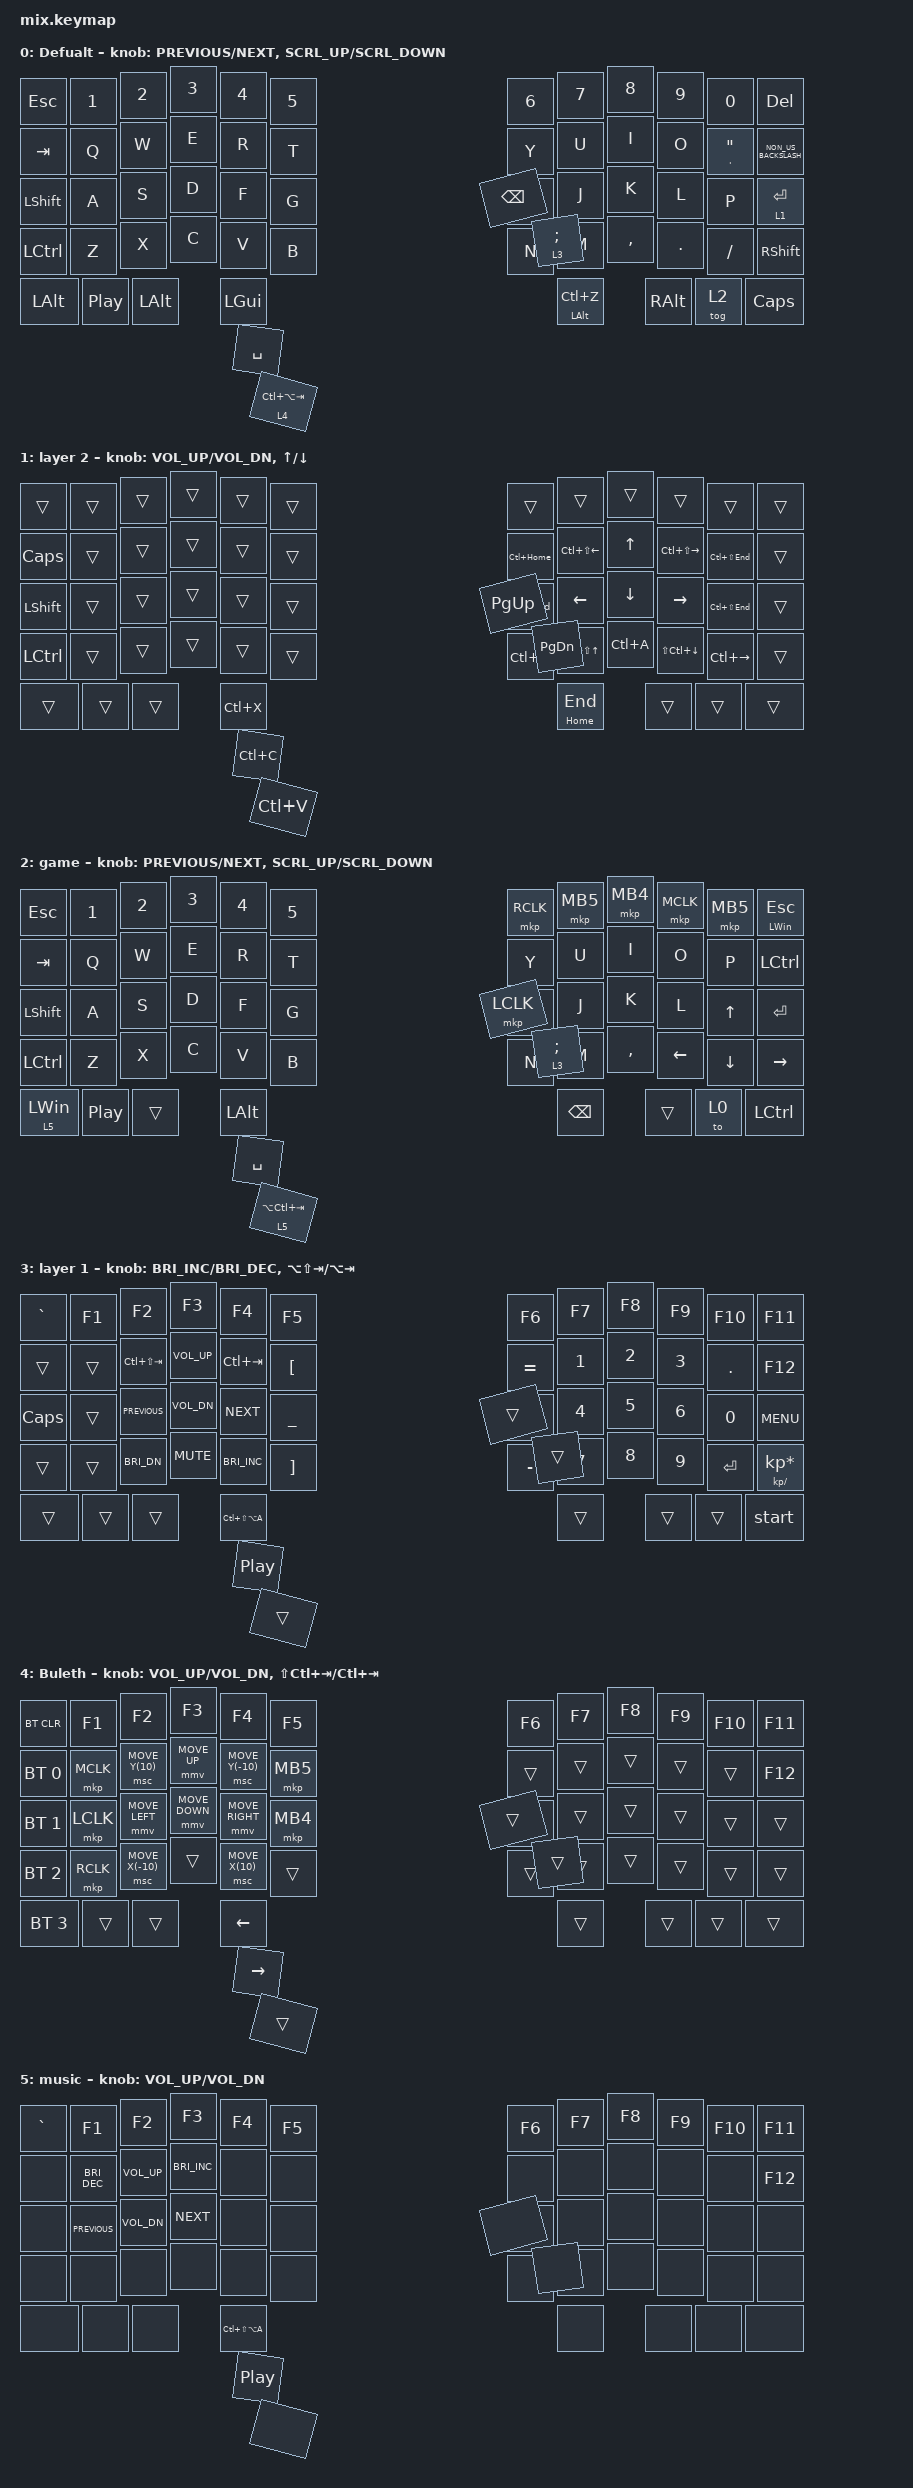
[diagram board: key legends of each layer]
/*
 * Copyright (c) 2020 The ZMK Contributors
 *
 * SPDX-License-Identifier: MIT
 */

#include <behaviors.dtsi>
#include <dt-bindings/zmk/bt.h>
#include <dt-bindings/zmk/keys.h>
#include <dt-bindings/zmk/pointing.h>

#define ZMK_POINTING_DEFAULT_SCRL_VAL 40
#define ZMK_POINTING_DEFAULT_MOVE_VAL 1500  // default: 600

/ {
    combos {
        compatible = "zmk,combos";

        boot {
            bindings = <&bootloader>;
            key-positions = <0 11 54 53>;
        };
    };

    behaviors {
        encoder_sc: encoder_sc {
            compatible = "zmk,behavior-sensor-rotate-var";
            label = "ENCODER_SC";
            #sensor-binding-cells = <2>;
            bindings = <&msc>, <&msc>;

            tap-ms = <40>;
        };
    };

    macros {
        start: start {
            compatible = "zmk,behavior-macro";
            #binding-cells = <0>;
            bindings = <&kp N1 &kp N8 &kp N3 &kp N4 &kp N9 &kp N2>;
            label = "START";
        };
    };

    keymap {
        compatible = "zmk,keymap";

        LAYER0 {
            display-name = "Defualt";
            bindings = <
&kp ESCAPE    &kp N1    &kp N2        &kp N3    &kp NUMBER_4  &kp N5             &kp NUMBER_6   &kp N7      &kp N8              &kp N9         &kp N0                          &kp DELETE
&kp TAB       &kp Q     &kp W         &kp E     &kp R         &kp T              &kp Y          &kp U       &kp I               &kp O          &mt SINGLE_QUOTE DOUBLE_QUOTES  &kp NON_US_BACKSLASH
&kp LSHFT     &kp A     &kp S         &kp D     &kp F         &kp G              &kp H          &kp J       &kp K               &kp L          &kp P                           &lt 1 ENTER
&kp LCTRL     &kp Z     &kp X         &kp C     &kp V         &kp B              &kp N          &kp M       &kp COMMA           &kp DOT        &kp SLASH                       &kp RSHFT
&kp LEFT_ALT  &kp C_PP  &kp LEFT_ALT  &kp LGUI  &kp SPACE     &lt 4 LC(LA(TAB))  &kp BACKSPACE  &lt 3 SEMI  &mt LEFT_ALT LC(Z)  &kp RIGHT_ALT  &tog 2                          &kp CAPS
            >;

            sensor-bindings =
                <&inc_dec_kp C_PREVIOUS C_NEXT>,
                <&encoder_sc SCRL_UP SCRL_DOWN>;
        };

        edit {
            display-name = "layer 2";
            bindings = <
&trans          &trans  &trans  &trans     &trans     &trans     &trans              &trans                  &trans          &trans                   &trans               &trans
&kp CAPS        &trans  &trans  &trans     &trans     &trans     &kp LC(HOME)        &kp LC(LS(LEFT_ARROW))  &kp UP_ARROW    &kp LC(LS(RIGHT_ARROW))  &kp LC(LS(END))      &trans
&kp LEFT_SHIFT  &trans  &trans  &trans     &trans     &trans     &kp LC(END)         &kp LEFT_ARROW          &kp DOWN_ARROW  &kp RIGHT_ARROW          &kp LC(LS(END))      &trans
&kp LCTRL       &trans  &trans  &trans     &trans     &trans     &kp LC(LEFT_ARROW)  &kp LC(LS(UP_ARROW))    &kp LC(A)       &kp LS(LC(DOWN_ARROW))   &kp LC(RIGHT_ARROW)  &trans
&trans          &trans  &trans  &kp LC(X)  &kp LC(C)  &kp LC(V)  &kp PG_UP           &kp PAGE_DOWN           &mt HOME END    &trans                   &trans               &trans
            >;

            sensor-bindings =
                <&inc_dec_kp C_VOL_UP C_VOL_DN>,
                <&inc_dec_kp UP_ARROW DOWN>;
        };

        game {
            bindings = <
&kp ESCAPE        &kp NUMBER_1  &kp NUMBER_2  &kp NUMBER_3  &kp NUMBER_4  &kp NUMBER_5       &mkp RCLK  &mkp MB5    &mkp MB4       &mkp MCLK       &mkp MB5      &mt LWIN ESCAPE
&kp TAB           &kp Q         &kp W         &kp E         &kp R         &kp T              &kp Y      &kp U       &kp I          &kp O           &kp P         &kp LCTRL
&kp LEFT_SHIFT    &kp A         &kp S         &kp D         &kp F         &kp G              &kp H      &kp J       &kp K          &kp L           &kp UP_ARROW  &kp ENTER
&kp LEFT_CONTROL  &kp Z         &kp X         &kp C         &kp V         &kp B              &kp N      &kp M       &kp COMMA      &kp LEFT_ARROW  &kp DOWN      &kp RIGHT
&lt 5 LEFT_WIN    &kp C_PP      &trans        &kp LEFT_ALT  &kp SPACE     &lt 5 LA(LC(TAB))  &mkp LCLK  &lt 3 SEMI  &kp BACKSPACE  &trans          &to 0         &kp LCTRL
            >;

            sensor-bindings =
                <&inc_dec_kp C_PREVIOUS C_NEXT>,
                <&encoder_sc SCRL_UP SCRL_DOWN>;
        };

        number {
            display-name = "layer 1";
            bindings = <
&kp GRAVE  &kp F1  &kp F2           &kp F3             &kp F4         &kp F5             &kp F6     &kp F7        &kp F8        &kp F9        &kp F10       &kp F11
&trans     &trans  &kp LC(LS(TAB))  &kp C_VOLUME_UP    &kp LC(TAB)    &kp LEFT_BRACKET   &kp EQUAL  &kp NUMBER_1  &kp NUMBER_2  &kp NUMBER_3  &kp PERIOD    &kp F12
&kp CAPS   &trans  &kp C_PREVIOUS   &kp C_VOL_DN       &kp C_NEXT     &kp UNDER          &kp PLUS   &kp NUMBER_4  &kp NUMBER_5  &kp NUMBER_6  &kp NUMBER_0  &kp K_MENU
&trans     &trans  &kp C_BRI_DN     &kp C_MUTE         &kp C_BRI_INC  &kp RIGHT_BRACKET  &kp MINUS  &kp NUMBER_7  &kp NUMBER_8  &kp NUMBER_9  &kp ENTER     &mt KP_DIVIDE KP_MULTIPLY
&trans     &trans  &trans           &kp LC(LS(LA(A)))  &kp C_PP       &trans             &trans     &trans        &trans        &trans        &trans        &start
            >;

            sensor-bindings =
                <&inc_dec_kp C_BRI_INC C_BRI_DEC>,
                <&inc_dec_kp LA(LS(TAB)) LA(TAB)>;
        };

        left_hand_mouse {
            display-name = "Buleth";
            bindings = <
&bt BT_CLR    &kp F1     &kp F2            &kp F3          &kp F4            &kp F5    &kp F6  &kp F7  &kp F8  &kp F9  &kp F10  &kp F11
&bt BT_SEL 0  &mkp MCLK  &msc MOVE_Y(10)   &mmv MOVE_UP    &msc MOVE_Y(-10)  &mkp MB5  &trans  &trans  &trans  &trans  &trans   &kp F12
&bt BT_SEL 1  &mkp LCLK  &mmv MOVE_LEFT    &mmv MOVE_DOWN  &mmv MOVE_RIGHT   &mkp MB4  &trans  &trans  &trans  &trans  &trans   &trans
&bt BT_SEL 2  &mkp RCLK  &msc MOVE_X(-10)  &trans          &msc MOVE_X(10)   &trans    &trans  &trans  &trans  &trans  &trans   &trans
&bt BT_SEL 3  &trans     &trans            &kp LEFT_ARROW  &kp RIGHT_ARROW   &trans    &trans  &trans  &trans  &trans  &trans   &trans
            >;

            sensor-bindings =
                <&inc_dec_kp C_VOL_UP C_VOL_DN>,
                <&inc_dec_kp LS(LC(TAB)) LC(TAB)>;
        };

        music {
            bindings = <
&kp GRAVE  &kp F1                &kp F2           &kp F3             &kp F4    &kp F5  &kp F6  &kp F7  &kp F8  &kp F9  &kp F10  &kp F11
&none      &kp C_BRIGHTNESS_DEC  &kp C_VOLUME_UP  &kp C_BRI_INC      &none     &none   &none   &none   &none   &none   &none    &kp F12
&none      &kp C_PREVIOUS        &kp C_VOL_DN     &kp C_NEXT         &none     &none   &none   &none   &none   &none   &none    &none
&none      &none                 &none            &none              &none     &none   &none   &none   &none   &none   &none    &none
&none      &none                 &none            &kp LC(LS(LA(A)))  &kp C_PP  &none   &none   &none   &none   &none   &none    &none
            >;

            sensor-bindings = <&inc_dec_kp C_VOLUME_UP C_VOL_DN>;
        };
    };
};
